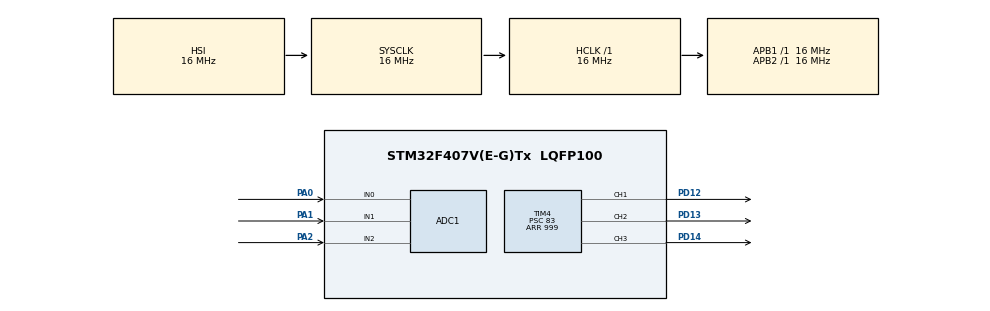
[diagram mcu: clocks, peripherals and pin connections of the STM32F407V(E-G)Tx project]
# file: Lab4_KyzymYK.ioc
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ADC1.Channel-0\#ChannelRegularConversion=ADC_CHANNEL_0
ADC1.Channel-1\#ChannelRegularConversion=ADC_CHANNEL_1
ADC1.Channel-2\#ChannelRegularConversion=ADC_CHANNEL_2
ADC1.ContinuousConvMode=DISABLE
ADC1.NbrOfConversion=3
ADC1.NbrOfConversionFlag=1
ADC1.Rank-0\#ChannelRegularConversion=1
ADC1.Rank-1\#ChannelRegularConversion=2
ADC1.Rank-2\#ChannelRegularConversion=3
ADC1.SamplingTime-0\#ChannelRegularConversion=ADC_SAMPLETIME_480CYCLES
ADC1.SamplingTime-1\#ChannelRegularConversion=ADC_SAMPLETIME_480CYCLES
ADC1.SamplingTime-2\#ChannelRegularConversion=ADC_SAMPLETIME_480CYCLES
ADC1.ScanConvMode=ENABLE
ADC1.master=1
Mcu.Family=STM32F4
Mcu.Name=STM32F407V(E-G)Tx
Mcu.Package=LQFP100
NVIC.ADC_IRQn=true\:0\:0\:false\:false\:true\:true\:true\:true
NVIC.PriorityGroup=NVIC_PRIORITYGROUP_4
PA0-WKUP.Signal=ADCx_IN0
PA1.Signal=ADCx_IN1
PA2.Signal=ADCx_IN2
PD12.Signal=S_TIM4_CH1
PD13.Signal=S_TIM4_CH2
PD14.Signal=S_TIM4_CH3
ProjectManager.HeapSize=0x200
ProjectManager.StackSize=0x400
ProjectManager.TargetToolchain=STM32CubeIDE
RCC.AHBFreq_Value=16000000
RCC.APB1Freq_Value=16000000
RCC.APB2Freq_Value=16000000
RCC.CortexFreq_Value=16000000
RCC.HSE_VALUE=25000000
RCC.HSI_VALUE=16000000
RCC.LSE_VALUE=32768
RCC.SYSCLKFreq_VALUE=16000000
RCC.VCOOutputFreq_Value=192000000
SH.ADCx_IN0.0=ADC1_IN0,IN0
SH.ADCx_IN1.0=ADC1_IN1,IN1
SH.ADCx_IN2.0=ADC1_IN2,IN2
SH.S_TIM4_CH1.0=TIM4_CH1,PWM Generation1 CH1
SH.S_TIM4_CH2.0=TIM4_CH2,PWM Generation2 CH2
SH.S_TIM4_CH3.0=TIM4_CH3,PWM Generation3 CH3
TIM4.Channel-PWM\ Generation1\ CH1=TIM_CHANNEL_1
TIM4.Channel-PWM\ Generation2\ CH2=TIM_CHANNEL_2
TIM4.Channel-PWM\ Generation3\ CH3=TIM_CHANNEL_3
TIM4.Period=999
TIM4.Prescaler=83
VP_TIM4_VS_ClockSourceINT.Mode=Internal
board=custom

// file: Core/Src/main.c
/* USER CODE BEGIN Header */
/**
  ******************************************************************************
  * @file           : main.c
  * @brief          : Main program body
  ******************************************************************************
  * @attention
  *
  * Copyright (c) 2025 STMicroelectronics.
  * All rights reserved.
  *
  * This software is licensed under terms that can be found in the LICENSE file
  * in the root directory of this software component.
  * If no LICENSE file comes with this software, it is provided AS-IS.
  *
  ******************************************************************************
  */
/* USER CODE END Header */
#include "main.h"

ADC_HandleTypeDef hadc1;

TIM_HandleTypeDef htim4;

/* USER CODE BEGIN PV */
uint32_t adcValues[3];
uint8_t currentChannel = 0;
/* USER CODE END PV */

void SystemClock_Config(void);
static void MX_GPIO_Init(void);
static void MX_ADC1_Init(void);
static void MX_TIM4_Init(void);

int main(void)
{

  /* MCU Configuration--------------------------------------------------------*/

  /* Reset of all peripherals, Initializes the Flash interface and the Systick. */
  HAL_Init();

  /* Configure the system clock */
  SystemClock_Config();

  /* Initialize all configured peripherals */
  MX_GPIO_Init();
  MX_ADC1_Init();
  MX_TIM4_Init();
  /* USER CODE BEGIN 2 */
  /* USER CODE BEGIN 2 */
  HAL_TIM_PWM_Start(&htim4, TIM_CHANNEL_1);
  HAL_TIM_PWM_Start(&htim4, TIM_CHANNEL_2);
  HAL_TIM_PWM_Start(&htim4, TIM_CHANNEL_3);

  currentChannel = 0;
  HAL_ADC_Start_IT(&hadc1);
  /* USER CODE END 2 */

  /* USER CODE END 2 */

  /* Infinite loop */
  while (1)
  {

  }
}

void SystemClock_Config(void)
{
  RCC_OscInitTypeDef RCC_OscInitStruct = {0};
  RCC_ClkInitTypeDef RCC_ClkInitStruct = {0};

  /** Configure the main internal regulator output voltage
  */
  __HAL_RCC_PWR_CLK_ENABLE();
  __HAL_PWR_VOLTAGESCALING_CONFIG(PWR_REGULATOR_VOLTAGE_SCALE1);

  /** Initializes the RCC Oscillators according to the specified parameters
  * in the RCC_OscInitTypeDef structure.
  */
  RCC_OscInitStruct.OscillatorType = RCC_OSCILLATORTYPE_HSI;
  RCC_OscInitStruct.HSIState = RCC_HSI_ON;
  RCC_OscInitStruct.HSICalibrationValue = RCC_HSICALIBRATION_DEFAULT;
  RCC_OscInitStruct.PLL.PLLState = RCC_PLL_NONE;
  if (HAL_RCC_OscConfig(&RCC_OscInitStruct) != HAL_OK)
  {
    Error_Handler();
  }

  /** Initializes the CPU, AHB and APB buses clocks
  */
  RCC_ClkInitStruct.ClockType = RCC_CLOCKTYPE_HCLK|RCC_CLOCKTYPE_SYSCLK
                              |RCC_CLOCKTYPE_PCLK1|RCC_CLOCKTYPE_PCLK2;
  RCC_ClkInitStruct.SYSCLKSource = RCC_SYSCLKSOURCE_HSI;
  RCC_ClkInitStruct.AHBCLKDivider = RCC_SYSCLK_DIV1;
  RCC_ClkInitStruct.APB1CLKDivider = RCC_HCLK_DIV1;
  RCC_ClkInitStruct.APB2CLKDivider = RCC_HCLK_DIV1;

  if (HAL_RCC_ClockConfig(&RCC_ClkInitStruct, FLASH_LATENCY_0) != HAL_OK)
  {
    Error_Handler();
  }
}

static void MX_ADC1_Init(void)
{

  ADC_ChannelConfTypeDef sConfig = {0};

  /** Configure the global features of the ADC (Clock, Resolution, Data Alignment and number of conversion)
  */
  hadc1.Instance = ADC1;
  hadc1.Init.ClockPrescaler = ADC_CLOCK_SYNC_PCLK_DIV2;
  hadc1.Init.Resolution = ADC_RESOLUTION_12B;
  hadc1.Init.ScanConvMode = ENABLE;
  hadc1.Init.ContinuousConvMode = DISABLE;
  hadc1.Init.DiscontinuousConvMode = DISABLE;
  hadc1.Init.ExternalTrigConvEdge = ADC_EXTERNALTRIGCONVEDGE_NONE;
  hadc1.Init.ExternalTrigConv = ADC_SOFTWARE_START;
  hadc1.Init.DataAlign = ADC_DATAALIGN_RIGHT;
  hadc1.Init.NbrOfConversion = 3;
  hadc1.Init.DMAContinuousRequests = DISABLE;
  hadc1.Init.EOCSelection = ADC_EOC_SINGLE_CONV;
  if (HAL_ADC_Init(&hadc1) != HAL_OK)
  {
    Error_Handler();
  }

  /** Configure for the selected ADC regular channel its corresponding rank in the sequencer and its sample time.
  */
  sConfig.Channel = ADC_CHANNEL_0;
  sConfig.Rank = 1;
  sConfig.SamplingTime = ADC_SAMPLETIME_480CYCLES;
  if (HAL_ADC_ConfigChannel(&hadc1, &sConfig) != HAL_OK)
  {
    Error_Handler();
  }

  /** Configure for the selected ADC regular channel its corresponding rank in the sequencer and its sample time.
  */
  sConfig.Channel = ADC_CHANNEL_1;
  sConfig.Rank = 2;
  if (HAL_ADC_ConfigChannel(&hadc1, &sConfig) != HAL_OK)
  {
    Error_Handler();
  }

  /** Configure for the selected ADC regular channel its corresponding rank in the sequencer and its sample time.
  */
  sConfig.Channel = ADC_CHANNEL_2;
  sConfig.Rank = 3;
  if (HAL_ADC_ConfigChannel(&hadc1, &sConfig) != HAL_OK)
  {
    Error_Handler();
  }

}

static void MX_TIM4_Init(void)
{

  TIM_ClockConfigTypeDef sClockSourceConfig = {0};
  TIM_MasterConfigTypeDef sMasterConfig = {0};
  TIM_OC_InitTypeDef sConfigOC = {0};

  htim4.Instance = TIM4;
  htim4.Init.Prescaler = 83;
  htim4.Init.CounterMode = TIM_COUNTERMODE_UP;
  htim4.Init.Period = 999;
  htim4.Init.ClockDivision = TIM_CLOCKDIVISION_DIV1;
  htim4.Init.AutoReloadPreload = TIM_AUTORELOAD_PRELOAD_DISABLE;
  if (HAL_TIM_Base_Init(&htim4) != HAL_OK)
  {
    Error_Handler();
  }
  sClockSourceConfig.ClockSource = TIM_CLOCKSOURCE_INTERNAL;
  if (HAL_TIM_ConfigClockSource(&htim4, &sClockSourceConfig) != HAL_OK)
  {
    Error_Handler();
  }
  if (HAL_TIM_PWM_Init(&htim4) != HAL_OK)
  {
    Error_Handler();
  }
  sMasterConfig.MasterOutputTrigger = TIM_TRGO_RESET;
  sMasterConfig.MasterSlaveMode = TIM_MASTERSLAVEMODE_DISABLE;
  if (HAL_TIMEx_MasterConfigSynchronization(&htim4, &sMasterConfig) != HAL_OK)
  {
    Error_Handler();
  }
  sConfigOC.OCMode = TIM_OCMODE_PWM1;
  sConfigOC.Pulse = 0;
  sConfigOC.OCPolarity = TIM_OCPOLARITY_HIGH;
  sConfigOC.OCFastMode = TIM_OCFAST_DISABLE;
  if (HAL_TIM_PWM_ConfigChannel(&htim4, &sConfigOC, TIM_CHANNEL_1) != HAL_OK)
  {
    Error_Handler();
  }
  if (HAL_TIM_PWM_ConfigChannel(&htim4, &sConfigOC, TIM_CHANNEL_2) != HAL_OK)
  {
    Error_Handler();
  }
  if (HAL_TIM_PWM_ConfigChannel(&htim4, &sConfigOC, TIM_CHANNEL_3) != HAL_OK)
  {
    Error_Handler();
  }
  HAL_TIM_MspPostInit(&htim4);

}

static void MX_GPIO_Init(void)
{

  /* GPIO Ports Clock Enable */
  __HAL_RCC_GPIOA_CLK_ENABLE();
  __HAL_RCC_GPIOD_CLK_ENABLE();

}

/* USER CODE BEGIN 4 */
void HAL_ADC_ConvCpltCallback(ADC_HandleTypeDef* hadc)
{
    if (hadc->Instance == ADC1)
    {
        uint32_t value = HAL_ADC_GetValue(&hadc1);

        adcValues[currentChannel] = value;

        currentChannel++;
        if(currentChannel >= 3)
        {
            currentChannel = 0;

            TIM4->CCR1 = adcValues[0] * 999 / 4095;
            TIM4->CCR2 = adcValues[1] * 999 / 4095;
            TIM4->CCR3 = adcValues[2] * 999 / 4095;
        }

        HAL_ADC_Start_IT(&hadc1);
    }
}
/* USER CODE END 4 */

void Error_Handler(void)
{
  __disable_irq();
  while (1)
  {
  }
}
